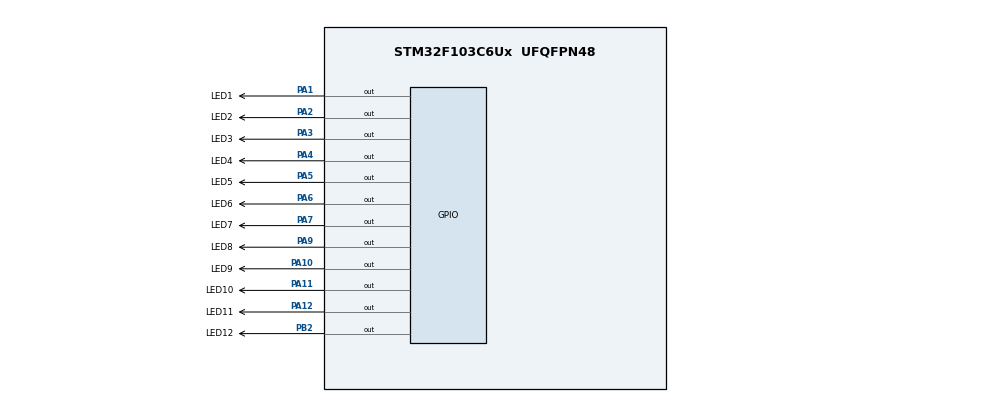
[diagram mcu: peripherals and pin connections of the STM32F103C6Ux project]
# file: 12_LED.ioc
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Mcu.Family=STM32F1
Mcu.Name=STM32F103C6Ux
Mcu.Package=UFQFPN48
NVIC.PriorityGroup=NVIC_PRIORITYGROUP_4
PA1.GPIO_Label=LED1
PA1.Signal=GPIO_Output
PA10.GPIO_Label=LED9
PA10.Signal=GPIO_Output
PA11.GPIO_Label=LED10
PA11.Signal=GPIO_Output
PA12.GPIO_Label=LED11
PA12.Signal=GPIO_Output
PA2.GPIO_Label=LED2
PA2.Signal=GPIO_Output
PA3.GPIO_Label=LED3
PA3.Signal=GPIO_Output
PA4.GPIO_Label=LED4
PA4.Signal=GPIO_Output
PA5.GPIO_Label=LED5
PA5.Signal=GPIO_Output
PA6.GPIO_Label=LED6
PA6.Signal=GPIO_Output
PA7.GPIO_Label=LED7
PA7.Signal=GPIO_Output
PA9.GPIO_Label=LED8
PA9.Signal=GPIO_Output
PB2.GPIO_Label=LED12
PB2.Signal=GPIO_Output
ProjectManager.HeapSize=0x200
ProjectManager.StackSize=0x400
ProjectManager.TargetToolchain=STM32CubeIDE
RCC.APB1Freq_Value=8000000
RCC.APB2Freq_Value=8000000
VP_SYS_VS_ND.Mode=No_Debug
board=custom

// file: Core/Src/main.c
/* USER CODE BEGIN Header */
/**
  ******************************************************************************
  * @file           : main.c
  * @brief          : Main program body
  ******************************************************************************
  * @attention
  *
  * <h2><center>&copy; Copyright (c) 2022 STMicroelectronics.
  * All rights reserved.</center></h2>
  *
  * This software component is licensed by ST under BSD 3-Clause license,
  * the "License"; You may not use this file except in compliance with the
  * License. You may obtain a copy of the License at:
  *                        opensource.org/licenses/BSD-3-Clause
  *
  ******************************************************************************
  */
/* USER CODE END Header */
#include "main.h"

void SystemClock_Config(void);
static void MX_GPIO_Init(void);

int main(void)
{

  /* MCU Configuration--------------------------------------------------------*/

  /* Reset of all peripherals, Initializes the Flash interface and the Systick. */
  HAL_Init();

  /* Configure the system clock */
  SystemClock_Config();

  /* Initialize all configured peripherals */
  MX_GPIO_Init();

  /* Infinite loop */
  /* USER CODE BEGIN WHILE */
  void display12LED (int num) {
	  if(num == 1){
		  HAL_GPIO_WritePin(LED1_GPIO_Port, LED1_Pin, SET);
		  HAL_GPIO_WritePin(LED2_GPIO_Port, LED2_Pin, RESET);
		  HAL_GPIO_WritePin(LED3_GPIO_Port, LED3_Pin, RESET);
		  HAL_GPIO_WritePin(LED4_GPIO_Port, LED4_Pin, RESET);
		  HAL_GPIO_WritePin(LED5_GPIO_Port, LED5_Pin, RESET);
		  HAL_GPIO_WritePin(LED6_GPIO_Port, LED6_Pin, RESET);
		  HAL_GPIO_WritePin(LED7_GPIO_Port, LED7_Pin, RESET);
		  HAL_GPIO_WritePin(LED8_GPIO_Port, LED8_Pin, RESET);
		  HAL_GPIO_WritePin(LED9_GPIO_Port, LED9_Pin, RESET);
		  HAL_GPIO_WritePin(LED10_GPIO_Port, LED10_Pin, RESET);
		  HAL_GPIO_WritePin(LED11_GPIO_Port, LED11_Pin, RESET);
		  HAL_GPIO_WritePin(LED12_GPIO_Port, LED12_Pin, RESET);
	  }
	  else if(num == 2){
		  HAL_GPIO_WritePin(LED1_GPIO_Port, LED1_Pin, RESET);
		  HAL_GPIO_WritePin(LED2_GPIO_Port, LED2_Pin, SET);
		  HAL_GPIO_WritePin(LED3_GPIO_Port, LED3_Pin, RESET);
		  HAL_GPIO_WritePin(LED4_GPIO_Port, LED4_Pin, RESET);
		  HAL_GPIO_WritePin(LED5_GPIO_Port, LED5_Pin, RESET);
		  HAL_GPIO_WritePin(LED6_GPIO_Port, LED6_Pin, RESET);
		  HAL_GPIO_WritePin(LED7_GPIO_Port, LED7_Pin, RESET);
		  HAL_GPIO_WritePin(LED8_GPIO_Port, LED8_Pin, RESET);
		  HAL_GPIO_WritePin(LED9_GPIO_Port, LED9_Pin, RESET);
		  HAL_GPIO_WritePin(LED10_GPIO_Port, LED10_Pin, RESET);
		  HAL_GPIO_WritePin(LED11_GPIO_Port, LED11_Pin, RESET);
		  HAL_GPIO_WritePin(LED12_GPIO_Port, LED12_Pin, RESET);
	  }
	  else if(num == 3){
		  HAL_GPIO_WritePin(LED1_GPIO_Port, LED1_Pin, RESET);
		  HAL_GPIO_WritePin(LED2_GPIO_Port, LED2_Pin, RESET);
		  HAL_GPIO_WritePin(LED3_GPIO_Port, LED3_Pin, SET);
		  HAL_GPIO_WritePin(LED4_GPIO_Port, LED4_Pin, RESET);
		  HAL_GPIO_WritePin(LED5_GPIO_Port, LED5_Pin, RESET);
		  HAL_GPIO_WritePin(LED6_GPIO_Port, LED6_Pin, RESET);
		  HAL_GPIO_WritePin(LED7_GPIO_Port, LED7_Pin, RESET);
		  HAL_GPIO_WritePin(LED8_GPIO_Port, LED8_Pin, RESET);
		  HAL_GPIO_WritePin(LED9_GPIO_Port, LED9_Pin, RESET);
		  HAL_GPIO_WritePin(LED10_GPIO_Port, LED10_Pin, RESET);
		  HAL_GPIO_WritePin(LED11_GPIO_Port, LED11_Pin, RESET);
		  HAL_GPIO_WritePin(LED12_GPIO_Port, LED12_Pin, RESET);
	  }
	  else if(num == 4){
		  HAL_GPIO_WritePin(LED1_GPIO_Port, LED1_Pin, RESET);
		  HAL_GPIO_WritePin(LED2_GPIO_Port, LED2_Pin, RESET);
		  HAL_GPIO_WritePin(LED3_GPIO_Port, LED3_Pin, RESET);
		  HAL_GPIO_WritePin(LED4_GPIO_Port, LED4_Pin, SET);
		  HAL_GPIO_WritePin(LED5_GPIO_Port, LED5_Pin, RESET);
		  HAL_GPIO_WritePin(LED6_GPIO_Port, LED6_Pin, RESET);
		  HAL_GPIO_WritePin(LED7_GPIO_Port, LED7_Pin, RESET);
		  HAL_GPIO_WritePin(LED8_GPIO_Port, LED8_Pin, RESET);
		  HAL_GPIO_WritePin(LED9_GPIO_Port, LED9_Pin, RESET);
		  HAL_GPIO_WritePin(LED10_GPIO_Port, LED10_Pin, RESET);
		  HAL_GPIO_WritePin(LED11_GPIO_Port, LED11_Pin, RESET);
		  HAL_GPIO_WritePin(LED12_GPIO_Port, LED12_Pin, RESET);
	  }
	  else if(num == 5){
		  HAL_GPIO_WritePin(LED1_GPIO_Port, LED1_Pin, RESET);
		  HAL_GPIO_WritePin(LED2_GPIO_Port, LED2_Pin, RESET);
		  HAL_GPIO_WritePin(LED3_GPIO_Port, LED3_Pin, RESET);
		  HAL_GPIO_WritePin(LED4_GPIO_Port, LED4_Pin, RESET);
		  HAL_GPIO_WritePin(LED5_GPIO_Port, LED5_Pin, SET);
		  HAL_GPIO_WritePin(LED6_GPIO_Port, LED6_Pin, RESET);
		  HAL_GPIO_WritePin(LED7_GPIO_Port, LED7_Pin, RESET);
		  HAL_GPIO_WritePin(LED8_GPIO_Port, LED8_Pin, RESET);
		  HAL_GPIO_WritePin(LED9_GPIO_Port, LED9_Pin, RESET);
		  HAL_GPIO_WritePin(LED10_GPIO_Port, LED10_Pin, RESET);
		  HAL_GPIO_WritePin(LED11_GPIO_Port, LED11_Pin, RESET);
		  HAL_GPIO_WritePin(LED12_GPIO_Port, LED12_Pin, RESET);
	  }
	  else if(num == 6){
		  HAL_GPIO_WritePin(LED1_GPIO_Port, LED1_Pin, RESET);
		  HAL_GPIO_WritePin(LED2_GPIO_Port, LED2_Pin, RESET);
		  HAL_GPIO_WritePin(LED3_GPIO_Port, LED3_Pin, RESET);
		  HAL_GPIO_WritePin(LED4_GPIO_Port, LED4_Pin, RESET);
		  HAL_GPIO_WritePin(LED5_GPIO_Port, LED5_Pin, RESET);
		  HAL_GPIO_WritePin(LED6_GPIO_Port, LED6_Pin, SET);
		  HAL_GPIO_WritePin(LED7_GPIO_Port, LED7_Pin, RESET);
		  HAL_GPIO_WritePin(LED8_GPIO_Port, LED8_Pin, RESET);
		  HAL_GPIO_WritePin(LED9_GPIO_Port, LED9_Pin, RESET);
		  HAL_GPIO_WritePin(LED10_GPIO_Port, LED10_Pin, RESET);
		  HAL_GPIO_WritePin(LED11_GPIO_Port, LED11_Pin, RESET);
		  HAL_GPIO_WritePin(LED12_GPIO_Port, LED12_Pin, RESET);
	  }
	  else if(num == 7){
		  HAL_GPIO_WritePin(LED1_GPIO_Port, LED1_Pin, RESET);
		  HAL_GPIO_WritePin(LED2_GPIO_Port, LED2_Pin, RESET);
		  HAL_GPIO_WritePin(LED3_GPIO_Port, LED3_Pin, RESET);
		  HAL_GPIO_WritePin(LED4_GPIO_Port, LED4_Pin, RESET);
		  HAL_GPIO_WritePin(LED5_GPIO_Port, LED5_Pin, RESET);
		  HAL_GPIO_WritePin(LED6_GPIO_Port, LED6_Pin, RESET);
		  HAL_GPIO_WritePin(LED7_GPIO_Port, LED7_Pin, SET);
		  HAL_GPIO_WritePin(LED8_GPIO_Port, LED8_Pin, RESET);
		  HAL_GPIO_WritePin(LED9_GPIO_Port, LED9_Pin, RESET);
		  HAL_GPIO_WritePin(LED10_GPIO_Port, LED10_Pin, RESET);
		  HAL_GPIO_WritePin(LED11_GPIO_Port, LED11_Pin, RESET);
		  HAL_GPIO_WritePin(LED12_GPIO_Port, LED12_Pin, RESET);
	  }
	  else if(num == 8){
		  HAL_GPIO_WritePin(LED1_GPIO_Port, LED1_Pin, RESET);
		  HAL_GPIO_WritePin(LED2_GPIO_Port, LED2_Pin, RESET);
		  HAL_GPIO_WritePin(LED3_GPIO_Port, LED3_Pin, RESET);
		  HAL_GPIO_WritePin(LED4_GPIO_Port, LED4_Pin, RESET);
		  HAL_GPIO_WritePin(LED5_GPIO_Port, LED5_Pin, RESET);
		  HAL_GPIO_WritePin(LED6_GPIO_Port, LED6_Pin, RESET);
		  HAL_GPIO_WritePin(LED7_GPIO_Port, LED7_Pin, RESET);
		  HAL_GPIO_WritePin(LED8_GPIO_Port, LED8_Pin, SET);
		  HAL_GPIO_WritePin(LED9_GPIO_Port, LED9_Pin, RESET);
		  HAL_GPIO_WritePin(LED10_GPIO_Port, LED10_Pin, RESET);
		  HAL_GPIO_WritePin(LED11_GPIO_Port, LED11_Pin, RESET);
		  HAL_GPIO_WritePin(LED12_GPIO_Port, LED12_Pin, RESET);
	  }
	  else if(num == 9){
		  HAL_GPIO_WritePin(LED1_GPIO_Port, LED1_Pin, RESET);
		  HAL_GPIO_WritePin(LED2_GPIO_Port, LED2_Pin, RESET);
		  HAL_GPIO_WritePin(LED3_GPIO_Port, LED3_Pin, RESET);
		  HAL_GPIO_WritePin(LED4_GPIO_Port, LED4_Pin, RESET);
		  HAL_GPIO_WritePin(LED5_GPIO_Port, LED5_Pin, RESET);
		  HAL_GPIO_WritePin(LED6_GPIO_Port, LED6_Pin, RESET);
		  HAL_GPIO_WritePin(LED7_GPIO_Port, LED7_Pin, RESET);
		  HAL_GPIO_WritePin(LED8_GPIO_Port, LED8_Pin, RESET);
		  HAL_GPIO_WritePin(LED9_GPIO_Port, LED9_Pin, SET);
		  HAL_GPIO_WritePin(LED10_GPIO_Port, LED10_Pin, RESET);
		  HAL_GPIO_WritePin(LED11_GPIO_Port, LED11_Pin, RESET);
		  HAL_GPIO_WritePin(LED12_GPIO_Port, LED12_Pin, RESET);
	  }
	  else if(num == 10){
		  HAL_GPIO_WritePin(LED1_GPIO_Port, LED1_Pin, RESET);
		  HAL_GPIO_WritePin(LED2_GPIO_Port, LED2_Pin, RESET);
		  HAL_GPIO_WritePin(LED3_GPIO_Port, LED3_Pin, RESET);
		  HAL_GPIO_WritePin(LED4_GPIO_Port, LED4_Pin, RESET);
		  HAL_GPIO_WritePin(LED5_GPIO_Port, LED5_Pin, RESET);
		  HAL_GPIO_WritePin(LED6_GPIO_Port, LED6_Pin, RESET);
		  HAL_GPIO_WritePin(LED7_GPIO_Port, LED7_Pin, RESET);
		  HAL_GPIO_WritePin(LED8_GPIO_Port, LED8_Pin, RESET);
		  HAL_GPIO_WritePin(LED9_GPIO_Port, LED9_Pin, RESET);
		  HAL_GPIO_WritePin(LED10_GPIO_Port, LED10_Pin, SET);
		  HAL_GPIO_WritePin(LED11_GPIO_Port, LED11_Pin, RESET);
		  HAL_GPIO_WritePin(LED12_GPIO_Port, LED12_Pin, RESET);
	  }
	  else if(num == 11){
		  HAL_GPIO_WritePin(LED1_GPIO_Port, LED1_Pin, RESET);
		  HAL_GPIO_WritePin(LED2_GPIO_Port, LED2_Pin, RESET);
		  HAL_GPIO_WritePin(LED3_GPIO_Port, LED3_Pin, RESET);
		  HAL_GPIO_WritePin(LED4_GPIO_Port, LED4_Pin, RESET);
		  HAL_GPIO_WritePin(LED5_GPIO_Port, LED5_Pin, RESET);
		  HAL_GPIO_WritePin(LED6_GPIO_Port, LED6_Pin, RESET);
		  HAL_GPIO_WritePin(LED7_GPIO_Port, LED7_Pin, RESET);
		  HAL_GPIO_WritePin(LED8_GPIO_Port, LED8_Pin, RESET);
		  HAL_GPIO_WritePin(LED9_GPIO_Port, LED9_Pin, RESET);
		  HAL_GPIO_WritePin(LED10_GPIO_Port, LED10_Pin, RESET);
		  HAL_GPIO_WritePin(LED11_GPIO_Port, LED11_Pin, SET);
		  HAL_GPIO_WritePin(LED12_GPIO_Port, LED12_Pin, RESET);
	  }
	  else if(num == 12){
		  HAL_GPIO_WritePin(LED1_GPIO_Port, LED1_Pin, RESET);
		  HAL_GPIO_WritePin(LED2_GPIO_Port, LED2_Pin, RESET);
		  HAL_GPIO_WritePin(LED3_GPIO_Port, LED3_Pin, RESET);
		  HAL_GPIO_WritePin(LED4_GPIO_Port, LED4_Pin, RESET);
		  HAL_GPIO_WritePin(LED5_GPIO_Port, LED5_Pin, RESET);
		  HAL_GPIO_WritePin(LED6_GPIO_Port, LED6_Pin, RESET);
		  HAL_GPIO_WritePin(LED7_GPIO_Port, LED7_Pin, RESET);
		  HAL_GPIO_WritePin(LED8_GPIO_Port, LED8_Pin, RESET);
		  HAL_GPIO_WritePin(LED9_GPIO_Port, LED9_Pin, RESET);
		  HAL_GPIO_WritePin(LED10_GPIO_Port, LED10_Pin, RESET);
		  HAL_GPIO_WritePin(LED11_GPIO_Port, LED11_Pin, RESET);
		  HAL_GPIO_WritePin(LED12_GPIO_Port, LED12_Pin, SET);
	  }

  }
  int counter = 1;
  while (1)
  {
	  if( counter > 12) counter = 1;
	 display12LED( counter++) ;
	 HAL_Delay (500) ;
    /* USER CODE END WHILE */

  }
}

void SystemClock_Config(void)
{
  RCC_OscInitTypeDef RCC_OscInitStruct = {0};
  RCC_ClkInitTypeDef RCC_ClkInitStruct = {0};

  /** Initializes the RCC Oscillators according to the specified parameters
  * in the RCC_OscInitTypeDef structure.
  */
  RCC_OscInitStruct.OscillatorType = RCC_OSCILLATORTYPE_HSI;
  RCC_OscInitStruct.HSIState = RCC_HSI_ON;
  RCC_OscInitStruct.HSICalibrationValue = RCC_HSICALIBRATION_DEFAULT;
  RCC_OscInitStruct.PLL.PLLState = RCC_PLL_NONE;
  if (HAL_RCC_OscConfig(&RCC_OscInitStruct) != HAL_OK)
  {
    Error_Handler();
  }
  /** Initializes the CPU, AHB and APB buses clocks
  */
  RCC_ClkInitStruct.ClockType = RCC_CLOCKTYPE_HCLK|RCC_CLOCKTYPE_SYSCLK
                              |RCC_CLOCKTYPE_PCLK1|RCC_CLOCKTYPE_PCLK2;
  RCC_ClkInitStruct.SYSCLKSource = RCC_SYSCLKSOURCE_HSI;
  RCC_ClkInitStruct.AHBCLKDivider = RCC_SYSCLK_DIV1;
  RCC_ClkInitStruct.APB1CLKDivider = RCC_HCLK_DIV1;
  RCC_ClkInitStruct.APB2CLKDivider = RCC_HCLK_DIV1;

  if (HAL_RCC_ClockConfig(&RCC_ClkInitStruct, FLASH_LATENCY_0) != HAL_OK)
  {
    Error_Handler();
  }
}

static void MX_GPIO_Init(void)
{
  GPIO_InitTypeDef GPIO_InitStruct = {0};

  /* GPIO Ports Clock Enable */
  __HAL_RCC_GPIOA_CLK_ENABLE();
  __HAL_RCC_GPIOB_CLK_ENABLE();

  /*Configure GPIO pin Output Level */
  HAL_GPIO_WritePin(GPIOA, LED1_Pin|LED2_Pin|LED3_Pin|LED4_Pin
                          |LED5_Pin|LED6_Pin|LED7_Pin|LED8_Pin
                          |LED9_Pin|LED10_Pin|LED11_Pin, GPIO_PIN_RESET);

  /*Configure GPIO pin Output Level */
  HAL_GPIO_WritePin(LED12_GPIO_Port, LED12_Pin, GPIO_PIN_RESET);

  /*Configure GPIO pins : LED1_Pin LED2_Pin LED3_Pin LED4_Pin
                           LED5_Pin LED6_Pin LED7_Pin LED8_Pin
                           LED9_Pin LED10_Pin LED11_Pin */
  GPIO_InitStruct.Pin = LED1_Pin|LED2_Pin|LED3_Pin|LED4_Pin
                          |LED5_Pin|LED6_Pin|LED7_Pin|LED8_Pin
                          |LED9_Pin|LED10_Pin|LED11_Pin;
  GPIO_InitStruct.Mode = GPIO_MODE_OUTPUT_PP;
  GPIO_InitStruct.Pull = GPIO_NOPULL;
  GPIO_InitStruct.Speed = GPIO_SPEED_FREQ_LOW;
  HAL_GPIO_Init(GPIOA, &GPIO_InitStruct);

  /*Configure GPIO pin : LED12_Pin */
  GPIO_InitStruct.Pin = LED12_Pin;
  GPIO_InitStruct.Mode = GPIO_MODE_OUTPUT_PP;
  GPIO_InitStruct.Pull = GPIO_NOPULL;
  GPIO_InitStruct.Speed = GPIO_SPEED_FREQ_LOW;
  HAL_GPIO_Init(LED12_GPIO_Port, &GPIO_InitStruct);

}

void Error_Handler(void)
{
  __disable_irq();
  while (1)
  {
  }
}

/************************ (C) COPYRIGHT STMicroelectronics *****END OF FILE****/
